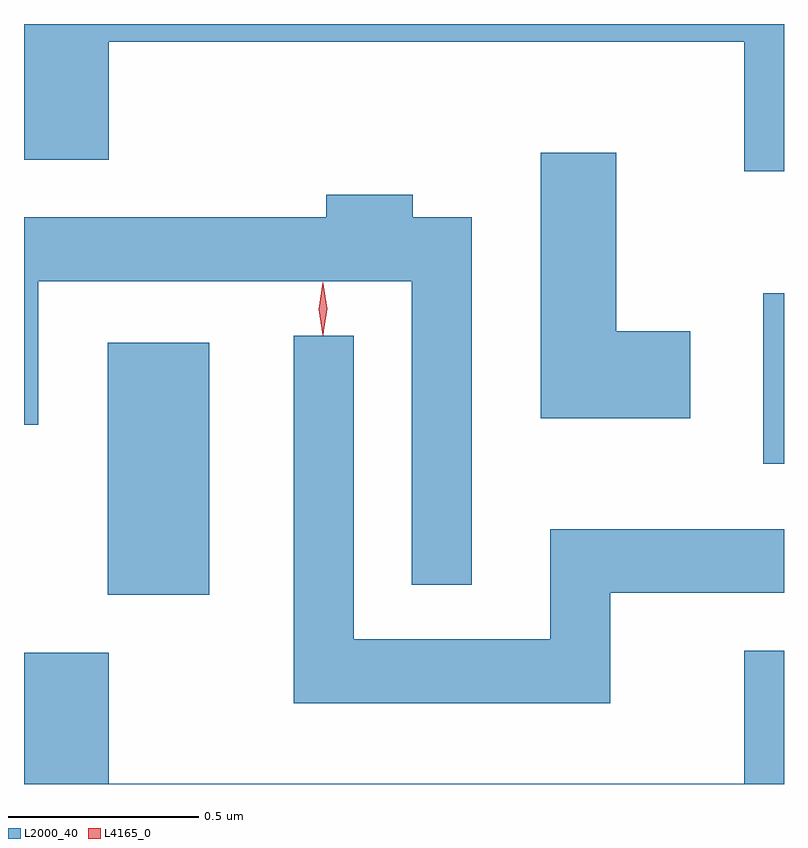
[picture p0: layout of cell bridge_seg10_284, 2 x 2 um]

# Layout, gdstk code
import gdstk
lib = gdstk.Library(unit=1e-6, precision=1e-09)
def R(c, l, rs):  # rectangles x0, y0, x1, y1
    for r in rs: c.add(gdstk.rectangle(r[:2], r[2:], *l))
def P(c, l, *ps):  # polygons
    for p in ps: c.add(gdstk.Polygon(p, *l))
L2000_40 = (2000, 40)
L4165_0 = (4165, 0)

bridge_seg10_284 = lib.new_cell('bridge_seg10_284')
R(bridge_seg10_284, L2000_40, [(1812.926,2101.361,1813.194,2102.024), (1814.651,2101.706,1814.706,2102.154)])
P(bridge_seg10_284, L2000_40, [(1814.706,2102.863),(1812.706,2102.863),(1812.706,2102.506),(1812.929,2102.506),(1812.929,2102.816),(1814.601,2102.816),(1814.601,2102.476),(1814.706,2102.476)],
  [(1814.459,2102.054),(1814.264,2102.054),(1814.264,2102.524),(1814.066,2102.524),(1814.066,2101.826),(1814.459,2101.826)],
  [(1813.884,2102.354),(1813.729,2102.354),(1813.729,2102.414),(1813.501,2102.414),(1813.501,2102.354),(1812.706,2102.354),(1812.706,2101.808),(1812.744,2101.808),(1812.744,2102.186),(1813.726,2102.186),(1813.726,2101.388),(1813.884,2101.388)],
  [(1814.249,2101.366),(1814.706,2101.366),(1814.706,2101.534),(1814.091,2101.534),(1814.091,2101.244),(1813.574,2101.244),(1813.574,2102.043),(1813.416,2102.043),(1813.416,2101.076),(1814.249,2101.076)],
  [(1814.706,2101.214),(1814.601,2101.214),(1814.601,2100.864),(1812.929,2100.864),(1812.929,2101.209),(1812.706,2101.209),(1812.706,2100.863),(1814.706,2100.863)])
P(bridge_seg10_284, L4165_0, [(1813.492,2102.044),(1813.492,2102.044),(1813.482,2102.113),(1813.492,2102.182),(1813.492,2102.183),(1813.493,2102.182),(1813.502,2102.113),(1813.493,2102.044)],
  [(1813.494,2102.047),(1813.493,2102.048),(1813.484,2102.114),(1813.493,2102.18),(1813.494,2102.18),(1813.494,2102.18),(1813.504,2102.114),(1813.494,2102.048)])

lib.write_gds('bridge_seg10_284.gds')
